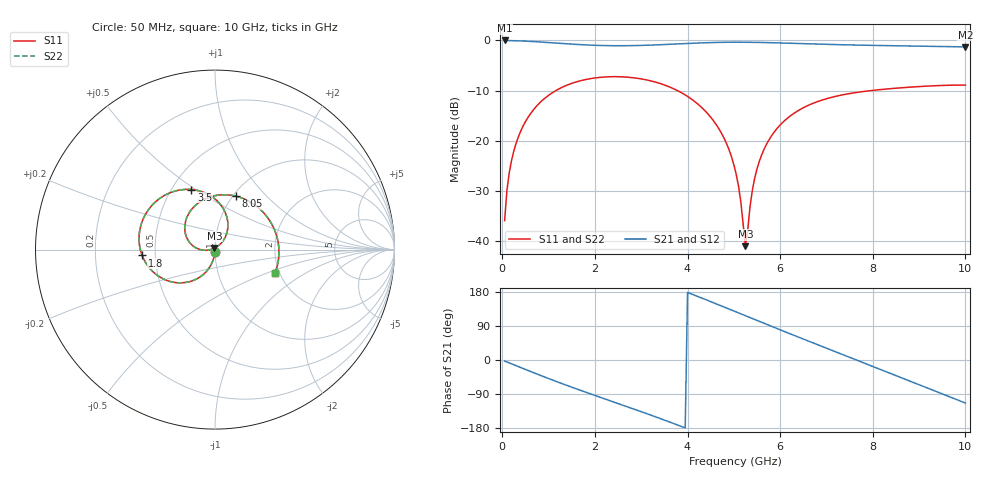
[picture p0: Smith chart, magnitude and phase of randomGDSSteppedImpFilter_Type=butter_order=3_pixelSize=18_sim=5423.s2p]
! freq	dB(S11)	phase(S11)	dB(S12)	phase(S12)
!  dB(S21)	phase(S21)	dB(S22)	phase(S22)
!S-par simulation data
#  GHz  S  DB  R 50
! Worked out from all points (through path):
!   200 points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, 50 MHz to 10 GHz, reference 50 ohm
!   highest |S21| = -0.01 dB at 50 MHz (marker M1); lowest = -1.3 dB at 10 GHz (marker M2)
!   group delay of S21, straight-line fit = 131 ps
!   lowest |S11| = -41.0 dB at 5.25 GHz (marker M3), VSWR 1.02, Z = 49.7 + j0.835 ohm
!   |S11| at or under -10 dB: start of sweep to 1.158 GHz; 3.781 GHz to 7.964 GHz (4.183 GHz wide, 71.2 % of centre)
!   |S22| runs from -41.1 to -7.2 dB; largest |S21 - S12| = 0
!   S11 on the Smith chart (normalised r, x): 50 MHz: 1.00, -0.03; 1.8 GHz: 0.42, -0.03; 3.5 GHz: 0.63, +0.48; 8.05 GHz: 1.03, +0.68; 10 GHz: 1.89, -0.56
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0.05  -35.96 -96.0  -0.01 -2.6  -0.01 -2.6  -35.95 -96.0
0.1  -29.92 -96.8  -0.02 -5.1  -0.02 -5.1  -29.92 -96.8
0.2  -23.93 -101.0  -0.04 -10.1  -0.04 -10.1  -23.93 -101.0
0.5  -16.20 -115.5  -0.14 -25.0  -0.14 -25.0  -16.20 -115.5
1.1  -10.32 -144.2  -0.49 -53.6  -0.49 -53.6  -10.32 -144.1
1.75  -7.91 -173.3  -0.87 -82.7  -0.87 -82.7  -7.90 -173.2
1.8  -7.80 -175.4  -0.89 -84.9  -0.89 -84.9  -7.80 -175.4
2.6  -7.27 150.5  -1.06 -119.0  -1.06 -119.0  -7.27 150.5
3.4  -8.57 115.8  -0.86 -154.0  -0.86 -154.0  -8.57 115.9
3.5  -8.88 111.4  -0.82 -158.5  -0.82 -158.5  -8.88 111.5
4.5  -15.31 65.6  -0.43 154.1  -0.43 154.1  -15.31 65.8
5.05  -26.66 46.0  -0.35 126.8  -0.35 126.8  -26.66 46.2
5.25  -41.04 108.8  -0.36 116.8  -0.36 116.8  -41.06 109.0
5.4  -29.87 -177.0  -0.38 109.3  -0.38 109.3  -29.87 -176.7
5.65  -21.76 180.0  -0.42 96.9  -0.42 96.9  -21.76 -179.8
6.05  -16.40 163.0  -0.52 77.2  -0.52 77.2  -16.40 163.2
6.7  -12.58 132.6  -0.71 45.6  -0.71 45.6  -12.58 132.9
7.4  -10.76 99.5  -0.88 12.0  -0.88 12.0  -10.76 99.8
8.05  -9.91 68.8  -1.00 -19.2  -1.00 -19.2  -9.91 69.2
8.35  -9.65 54.7  -1.05 -33.6  -1.05 -33.6  -9.65 55.1
9.2  -9.10 15.2  -1.18 -74.7  -1.18 -74.7  -9.10 15.6
10  -8.92 -21.3  -1.29 -113.5  -1.29 -113.5  -8.92 -21.0
